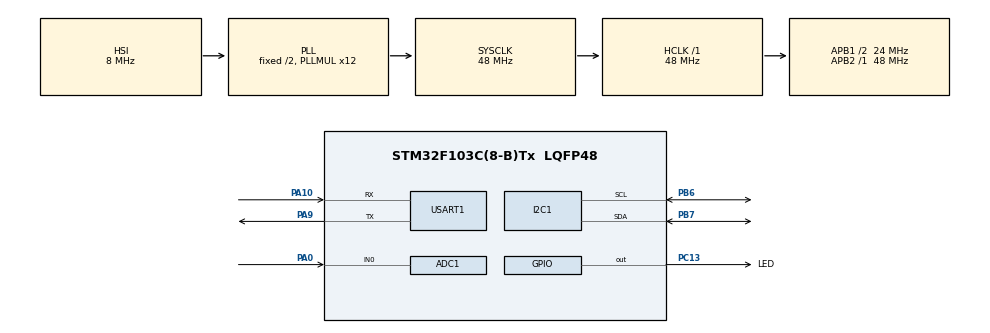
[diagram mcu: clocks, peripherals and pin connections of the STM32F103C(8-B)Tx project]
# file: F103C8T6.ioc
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ADC1.Channel-1\#ChannelRegularConversion=ADC_CHANNEL_0
ADC1.NbrOfConversionFlag=1
ADC1.Rank-1\#ChannelRegularConversion=1
ADC1.SamplingTime-1\#ChannelRegularConversion=ADC_SAMPLETIME_1CYCLE_5
ADC1.master=1
Mcu.Family=STM32F1
Mcu.Name=STM32F103C(8-B)Tx
Mcu.Package=LQFP48
NVIC.PriorityGroup=NVIC_PRIORITYGROUP_4
PA0-WKUP.Signal=ADCx_IN0
PA10.Mode=Asynchronous
PA10.Signal=USART1_RX
PA13.Mode=Serial_Wire
PA13.Signal=SYS_JTMS-SWDIO
PA14.Mode=Serial_Wire
PA14.Signal=SYS_JTCK-SWCLK
PA9.Mode=Asynchronous
PA9.Signal=USART1_TX
PB6.Mode=I2C
PB6.Signal=I2C1_SCL
PB7.Mode=I2C
PB7.Signal=I2C1_SDA
PC13-TAMPER-RTC.GPIO_Label=LED
PC13-TAMPER-RTC.Signal=GPIO_Output
ProjectManager.HeapSize=0x200
ProjectManager.StackSize=0x400
ProjectManager.TargetToolchain=STM32CubeIDE
RCC.ADCPresc=RCC_ADCPCLK2_DIV4
RCC.AHBFreq_Value=48000000
RCC.APB1CLKDivider=RCC_HCLK_DIV2
RCC.APB1Freq_Value=24000000
RCC.APB1TimFreq_Value=48000000
RCC.APB2Freq_Value=48000000
RCC.APB2TimFreq_Value=48000000
RCC.HCLKFreq_Value=48000000
RCC.PLLMUL=RCC_PLL_MUL12
RCC.SYSCLKFreq_VALUE=48000000
RCC.SYSCLKSource=RCC_SYSCLKSOURCE_PLLCLK
RCC.USBFreq_Value=48000000
SH.ADCx_IN0.0=ADC1_IN0,IN0
USART1.VirtualMode=VM_ASYNC
board=custom

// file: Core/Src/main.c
/* USER CODE BEGIN Header */
/**
  ******************************************************************************
  * @file           : main.c
  * @brief          : Main program body
  ******************************************************************************
  * @attention
  *
  * Copyright (c) 2023 STMicroelectronics.
  * All rights reserved.
  *
  * This software is licensed under terms that can be found in the LICENSE file
  * in the root directory of this software component.
  * If no LICENSE file comes with this software, it is provided AS-IS.
  *
  ******************************************************************************
  */
/* USER CODE END Header */
#include "main.h"

/* USER CODE BEGIN Includes */
#include "string.h"
#include "LM35.h"
/* USER CODE END Includes */

ADC_HandleTypeDef hadc1;

I2C_HandleTypeDef hi2c1;

UART_HandleTypeDef huart1;

/* USER CODE BEGIN PV */
uint8_t ADDRESS_MAIN = 90;
uint8_t ADDRESS_REDUNDANT = 92;
uint8_t ADDRESS_TTC = 94<<1;

unsigned char i2cRxBuf[50];
float Temp = 0;
/* USER CODE END PV */

void SystemClock_Config(void);
static void MX_GPIO_Init(void);
static void MX_USART1_UART_Init(void);
static void MX_I2C1_Init(void);
static void MX_ADC1_Init(void);

/* USER CODE BEGIN 0 */
void serialPrint(char *string){
	uint8_t len = strlen(string);
	HAL_UART_Transmit(&huart1, (uint8_t *)string, len, 2000);
}

void blink(int delayOn, int delayOff){
	HAL_GPIO_WritePin(LED_GPIO_Port, LED_Pin, GPIO_PIN_RESET);
	HAL_GPIO_WritePin(LED_GPIO_Port, LED_Pin, GPIO_PIN_SET);
	serialPrint("LED OFF\n\r");
	HAL_Delay(delayOn);

	HAL_GPIO_WritePin(LED_GPIO_Port, LED_Pin, GPIO_PIN_RESET);
	serialPrint("LED ON\n\r");
	HAL_Delay(delayOff);
}
/* USER CODE END 0 */

int main(void)
{

  /* MCU Configuration--------------------------------------------------------*/

  /* Reset of all peripherals, Initializes the Flash interface and the Systick. */
  HAL_Init();

  /* Configure the system clock */
  SystemClock_Config();

  /* Initialize all configured peripherals */
  MX_GPIO_Init();
  MX_USART1_UART_Init();
  MX_I2C1_Init();
  MX_ADC1_Init();
  /* USER CODE BEGIN 2 */
  LM35_Init(0);
  /* USER CODE END 2 */

  /* Infinite loop */
  while (1)
  {

    /* USER CODE BEGIN 3 */
//	  HAL_I2C_Master_Receive(&hi2c1, ADDRESS_TTC, i2cRxBuf, 50, HAL_MAX_DELAY);
//	  HAL_Delay(1000);
	  Temp = LM35_Read(0);
  }
  /* USER CODE END 3 */
}

void SystemClock_Config(void)
{
  RCC_OscInitTypeDef RCC_OscInitStruct = {0};
  RCC_ClkInitTypeDef RCC_ClkInitStruct = {0};
  RCC_PeriphCLKInitTypeDef PeriphClkInit = {0};

  /** Initializes the RCC Oscillators according to the specified parameters
  * in the RCC_OscInitTypeDef structure.
  */
  RCC_OscInitStruct.OscillatorType = RCC_OSCILLATORTYPE_HSI;
  RCC_OscInitStruct.HSIState = RCC_HSI_ON;
  RCC_OscInitStruct.HSICalibrationValue = RCC_HSICALIBRATION_DEFAULT;
  RCC_OscInitStruct.PLL.PLLState = RCC_PLL_ON;
  RCC_OscInitStruct.PLL.PLLSource = RCC_PLLSOURCE_HSI_DIV2;
  RCC_OscInitStruct.PLL.PLLMUL = RCC_PLL_MUL12;
  if (HAL_RCC_OscConfig(&RCC_OscInitStruct) != HAL_OK)
  {
    Error_Handler();
  }

  /** Initializes the CPU, AHB and APB buses clocks
  */
  RCC_ClkInitStruct.ClockType = RCC_CLOCKTYPE_HCLK|RCC_CLOCKTYPE_SYSCLK
                              |RCC_CLOCKTYPE_PCLK1|RCC_CLOCKTYPE_PCLK2;
  RCC_ClkInitStruct.SYSCLKSource = RCC_SYSCLKSOURCE_PLLCLK;
  RCC_ClkInitStruct.AHBCLKDivider = RCC_SYSCLK_DIV1;
  RCC_ClkInitStruct.APB1CLKDivider = RCC_HCLK_DIV2;
  RCC_ClkInitStruct.APB2CLKDivider = RCC_HCLK_DIV1;

  if (HAL_RCC_ClockConfig(&RCC_ClkInitStruct, FLASH_LATENCY_1) != HAL_OK)
  {
    Error_Handler();
  }
  PeriphClkInit.PeriphClockSelection = RCC_PERIPHCLK_ADC;
  PeriphClkInit.AdcClockSelection = RCC_ADCPCLK2_DIV4;
  if (HAL_RCCEx_PeriphCLKConfig(&PeriphClkInit) != HAL_OK)
  {
    Error_Handler();
  }
}

static void MX_ADC1_Init(void)
{

  ADC_ChannelConfTypeDef sConfig = {0};

  /** Common config
  */
  hadc1.Instance = ADC1;
  hadc1.Init.ScanConvMode = ADC_SCAN_DISABLE;
  hadc1.Init.ContinuousConvMode = DISABLE;
  hadc1.Init.DiscontinuousConvMode = DISABLE;
  hadc1.Init.ExternalTrigConv = ADC_SOFTWARE_START;
  hadc1.Init.DataAlign = ADC_DATAALIGN_RIGHT;
  hadc1.Init.NbrOfConversion = 1;
  if (HAL_ADC_Init(&hadc1) != HAL_OK)
  {
    Error_Handler();
  }

  /** Configure Regular Channel
  */
  sConfig.Channel = ADC_CHANNEL_0;
  sConfig.Rank = ADC_REGULAR_RANK_1;
  sConfig.SamplingTime = ADC_SAMPLETIME_1CYCLE_5;
  if (HAL_ADC_ConfigChannel(&hadc1, &sConfig) != HAL_OK)
  {
    Error_Handler();
  }

}

static void MX_I2C1_Init(void)
{

  hi2c1.Instance = I2C1;
  hi2c1.Init.ClockSpeed = 100000;
  hi2c1.Init.DutyCycle = I2C_DUTYCYCLE_2;
  hi2c1.Init.OwnAddress1 = 0;
  hi2c1.Init.AddressingMode = I2C_ADDRESSINGMODE_7BIT;
  hi2c1.Init.DualAddressMode = I2C_DUALADDRESS_DISABLE;
  hi2c1.Init.OwnAddress2 = 0;
  hi2c1.Init.GeneralCallMode = I2C_GENERALCALL_DISABLE;
  hi2c1.Init.NoStretchMode = I2C_NOSTRETCH_DISABLE;
  if (HAL_I2C_Init(&hi2c1) != HAL_OK)
  {
    Error_Handler();
  }

}

static void MX_USART1_UART_Init(void)
{

  huart1.Instance = USART1;
  huart1.Init.BaudRate = 115200;
  huart1.Init.WordLength = UART_WORDLENGTH_8B;
  huart1.Init.StopBits = UART_STOPBITS_1;
  huart1.Init.Parity = UART_PARITY_NONE;
  huart1.Init.Mode = UART_MODE_TX_RX;
  huart1.Init.HwFlowCtl = UART_HWCONTROL_NONE;
  huart1.Init.OverSampling = UART_OVERSAMPLING_16;
  if (HAL_UART_Init(&huart1) != HAL_OK)
  {
    Error_Handler();
  }

}

static void MX_GPIO_Init(void)
{
  GPIO_InitTypeDef GPIO_InitStruct = {0};

  /* GPIO Ports Clock Enable */
  __HAL_RCC_GPIOC_CLK_ENABLE();
  __HAL_RCC_GPIOA_CLK_ENABLE();
  __HAL_RCC_GPIOB_CLK_ENABLE();

  /*Configure GPIO pin Output Level */
  HAL_GPIO_WritePin(LED_GPIO_Port, LED_Pin, GPIO_PIN_RESET);

  /*Configure GPIO pin : LED_Pin */
  GPIO_InitStruct.Pin = LED_Pin;
  GPIO_InitStruct.Mode = GPIO_MODE_OUTPUT_PP;
  GPIO_InitStruct.Pull = GPIO_NOPULL;
  GPIO_InitStruct.Speed = GPIO_SPEED_FREQ_LOW;
  HAL_GPIO_Init(LED_GPIO_Port, &GPIO_InitStruct);

}

void Error_Handler(void)
{
  __disable_irq();
  while (1)
  {
  }
}
